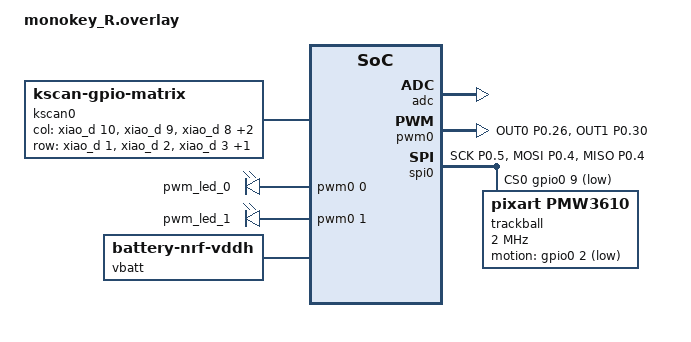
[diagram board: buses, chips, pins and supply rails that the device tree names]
/ { zmk,compat-check = "skip"; };

#include "monokey.dtsi"
#include <dt-bindings/pinctrl/nrf-pinctrl.h>
#include <dt-bindings/input/input-event-codes.h>
#include <dt-bindings/zmk/input_transform.h> 
#include <input/processors.dtsi> 

&default_transform { col-offset = <6>; };

&adc {
    status = "okay";
};

&uicr { nfct-pins-as-gpios; };
&xiao_serial { status = "disabled"; };

&pinctrl {
    pwm0_default: pwm0_default {
        group1 {
            psels = <NRF_PSEL(PWM_OUT0, 0, 26)>, <NRF_PSEL(PWM_OUT1, 0, 30)>;
            nordic,drive-mode = <NRF_DRIVE_S0S1>;
        };
    };
    pwm0_sleep: pwm0_sleep {
        group1 {
            psels = <NRF_PSEL(PWM_OUT0, 0, 26)>, <NRF_PSEL(PWM_OUT1, 0, 30)>;
            low-power-enable;
        };
    };

    spi0_default: spi0_default {
        group1 {
            psels = <NRF_PSEL(SPIM_SCK, 0, 5)>, <NRF_PSEL(SPIM_MOSI, 0, 4)>, <NRF_PSEL(SPIM_MISO, 0, 4)>;
        };
    };
    spi0_sleep: spi0_sleep {
        group1 {
            psels = <NRF_PSEL(SPIM_SCK, 0, 5)>, <NRF_PSEL(SPIM_MOSI, 0, 4)>, <NRF_PSEL(SPIM_MISO, 0, 4)>;
            low-power-enable;
        };
    };
};

&pwm0 {
    status = "okay";
    pinctrl-0 = <&pwm0_default>;
    pinctrl-1 = <&pwm0_sleep>;
    pinctrl-names = "default", "sleep";
};

&spi0 {
    status = "okay";
    compatible = "nordic,nrf-spim";
    pinctrl-0 = <&spi0_default>;
    pinctrl-1 = <&spi0_sleep>;
    pinctrl-names = "default", "sleep";
    cs-gpios = <&gpio0 9 GPIO_ACTIVE_LOW>;

    trackball: trackball@0 {
        status = "okay";
        compatible = "pixart,pmw3610"; 
        reg = <0>;
        spi-max-frequency = <2000000>;
        motion-gpios = <&gpio0 2 (GPIO_ACTIVE_LOW | GPIO_PULL_UP)>;
        zephyr,axis-x = <INPUT_REL_X>;
        zephyr,axis-y = <INPUT_REL_Y>;
        res-cpi = <800>;
    };
};

/ {
    kscan0: kscan0 {
        compatible = "zmk,kscan-gpio-matrix";
        wakeup-source;
        diode-direction = "col2row";
        col-gpios
            = <&xiao_d 10 GPIO_ACTIVE_HIGH>
            , <&xiao_d 9 GPIO_ACTIVE_HIGH> 
            , <&xiao_d 8 GPIO_ACTIVE_HIGH> 
            , <&xiao_d 7 GPIO_ACTIVE_HIGH> 
            , <&gpio0 10 GPIO_ACTIVE_HIGH> 
        ;
        row-gpios
            = <&xiao_d 1 (GPIO_ACTIVE_HIGH | GPIO_PULL_DOWN)> 
            , <&xiao_d 2 (GPIO_ACTIVE_HIGH | GPIO_PULL_DOWN)> 
            , <&xiao_d 3 (GPIO_ACTIVE_HIGH | GPIO_PULL_DOWN)> 
            , <&xiao_d 6 (GPIO_ACTIVE_HIGH | GPIO_PULL_DOWN)> 
            ;
    };

    backlight: pwmleds {
        compatible = "pwm-leds";
        status = "okay";
        pwm_led_0: led_red { pwms = <&pwm0 0 10000000 PWM_POLARITY_INVERTED>; };
        pwm_led_1: led_green { pwms = <&pwm0 1 10000000 PWM_POLARITY_INVERTED>; };
    };

    /* 🌟 ここがD8問題を解決する魔法の1行です */
    vbatt: vbatt { compatible = "zmk,battery-nrf-vddh"; };

    chosen {
        zmk,kscan = &kscan0;
        zmk,backlight = &backlight;
        zmk,battery = &vbatt;
        zmk,split-peripheral = &trackball_split; 
    };

    split_inputs {
        compatible = "zmk,split-inputs";
        #address-cells = <1>;
        #size-cells = <0>;
        trackball_split: trackball@0 {
            compatible = "zmk,input-split";
            reg = <0>;
            device = <&trackball>;
        };
    };

    chg_stat: chg_stat { status = "disabled"; };

    trackball_listener {
        compatible = "zmk,input-listener";
        device = <&trackball>;
        input-processors = <&zip_xy_scaler 1 2>;
    };
};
